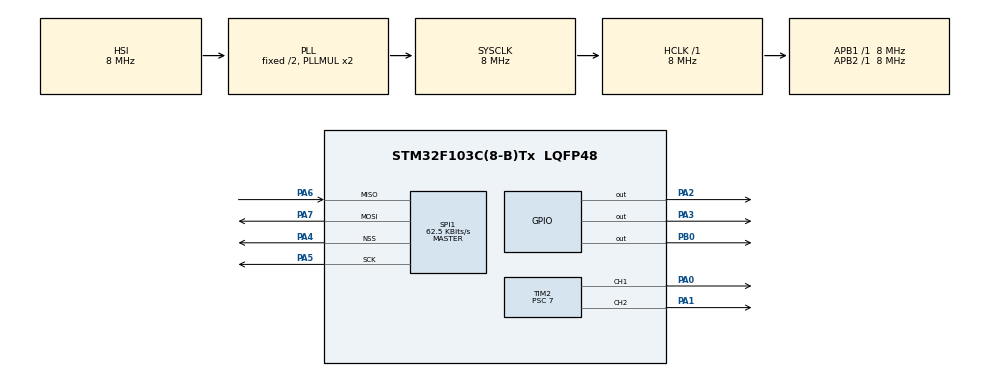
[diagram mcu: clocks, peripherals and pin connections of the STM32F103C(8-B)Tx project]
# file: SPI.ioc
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Mcu.Family=STM32F1
Mcu.Name=STM32F103C(8-B)Tx
Mcu.Package=LQFP48
NVIC.PriorityGroup=NVIC_PRIORITYGROUP_4
PA0-WKUP.Signal=S_TIM2_CH1_ETR
PA1.Signal=S_TIM2_CH2
PA13.Mode=Serial_Wire
PA13.Signal=SYS_JTMS-SWDIO
PA14.Mode=Serial_Wire
PA14.Signal=SYS_JTCK-SWCLK
PA2.Signal=GPIO_Output
PA3.Signal=GPIO_Output
PA4.Mode=NSS_Signal_Hard_Output
PA4.Signal=SPI1_NSS
PA5.Mode=Full_Duplex_Master
PA5.Signal=SPI1_SCK
PA6.Mode=Full_Duplex_Master
PA6.Signal=SPI1_MISO
PA7.Mode=Full_Duplex_Master
PA7.Signal=SPI1_MOSI
PB0.Signal=GPIO_Output
PD0-OSC_IN.Mode=HSE-External-Oscillator
PD0-OSC_IN.Signal=RCC_OSC_IN
PD1-OSC_OUT.Mode=HSE-External-Oscillator
PD1-OSC_OUT.Signal=RCC_OSC_OUT
ProjectManager.HeapSize=0x200
ProjectManager.StackSize=0x400
ProjectManager.TargetToolchain=STM32CubeIDE
RCC.AHBFreq_Value=8000000
RCC.APB1Freq_Value=8000000
RCC.APB1TimFreq_Value=8000000
RCC.APB2Freq_Value=8000000
RCC.APB2TimFreq_Value=8000000
RCC.HCLKFreq_Value=8000000
RCC.SYSCLKFreq_VALUE=8000000
RCC.SYSCLKSource=RCC_SYSCLKSOURCE_PLLCLK
RCC.USBFreq_Value=8000000
SH.S_TIM2_CH1_ETR.0=TIM2_CH1,PWM Generation1 CH1
SH.S_TIM2_CH2.0=TIM2_CH2,PWM Generation2 CH2
SPI1.BaudRatePrescaler=SPI_BAUDRATEPRESCALER_128
SPI1.CLKPhase=SPI_PHASE_2EDGE
SPI1.CLKPolarity=SPI_POLARITY_HIGH
SPI1.CalculateBaudRate=62.5 KBits/s
SPI1.Direction=SPI_DIRECTION_2LINES
SPI1.FirstBit=SPI_FIRSTBIT_LSB
SPI1.Mode=SPI_MODE_MASTER
SPI1.VirtualNSS=VM_NSSHARD
SPI1.VirtualType=VM_MASTER
TIM2.Channel-PWM\ Generation1\ CH1=TIM_CHANNEL_1
TIM2.Channel-PWM\ Generation2\ CH2=TIM_CHANNEL_2
TIM2.Period=99
TIM2.Prescaler=7
VP_TIM2_VS_ClockSourceINT.Mode=Internal
board=custom

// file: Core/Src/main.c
/* USER CODE BEGIN Header */
/**
  ******************************************************************************
  * @file           : main.c
  * @brief          : Main program body
  ******************************************************************************
  * @attention
  *
  * Copyright (c) 2024 STMicroelectronics.
  * All rights reserved.
  *
  * This software is licensed under terms that can be found in the LICENSE file
  * in the root directory of this software component.
  * If no LICENSE file comes with this software, it is provided AS-IS.
  *
  ******************************************************************************
  */
/* USER CODE END Header */
#include "main.h"

/* USER CODE BEGIN PD */
#define TURN 30
/* USER CODE END PD */

SPI_HandleTypeDef hspi1;

TIM_HandleTypeDef htim2;

/* USER CODE BEGIN PV */
uint8_t PSX_RX[8];
uint8_t PSX_TX[2] = {
		0x01, 0x42
};
enum state
{
	FORWARD,
	FOR_LEFT,
	FOR_RIGHT,
	BACKWARD,
	BAC_LEFT,
	BAC_RIGHT,
	LEFT_ROUND,
	RIGHT_ROUND,
	ZERO
};
enum state state_check(uint8_t arr[8]);
/* USER CODE END PV */

void SystemClock_Config(void);
static void MX_GPIO_Init(void);
static void MX_SPI1_Init(void);
static void MX_TIM2_Init(void);

/* USER CODE BEGIN 0 */
void forward();
void left();
void right();
void backward();
void forward_left();
void forward_right();
void backward_left();
void backward_right();
void stop_case();
/* USER CODE END 0 */

int main(void)
{

  /* MCU Configuration--------------------------------------------------------*/

  /* Reset of all peripherals, Initializes the Flash interface and the Systick. */
  HAL_Init();

  /* Configure the system clock */
  SystemClock_Config();

  /* Initialize all configured peripherals */
  MX_GPIO_Init();
  MX_SPI1_Init();
  MX_TIM2_Init();
  /* USER CODE BEGIN 2 */
  HAL_TIM_PWM_Start(&htim2,TIM_CHANNEL_1);
  HAL_TIM_PWM_Start(&htim2,TIM_CHANNEL_2);
  HAL_GPIO_WritePin(GPIOB, GPIO_PIN_0, 1);

  /* USER CODE END 2 */

  /* Infinite loop */
  while (1)
  {

    /* USER CODE BEGIN 3 */
	 HAL_Delay(5);
	 HAL_GPIO_TogglePin(GPIOB, GPIO_PIN_0);
	 HAL_SPI_TransmitReceive(&hspi1, PSX_TX, PSX_RX, 8, 10);
	 HAL_GPIO_TogglePin(GPIOB, GPIO_PIN_0);
	 switch (state_check(PSX_RX))
	 {
		 case FORWARD :
			 forward();
			 break;

		 case FOR_LEFT :
			forward_left();
			break;

		 case FOR_RIGHT :
			forward_right();
			break;

		 case BACKWARD :
			backward();
			break;

		 case BAC_LEFT :
			backward_left();
			break;

		 case BAC_RIGHT :
			backward_right();
			break;

		 case RIGHT_ROUND :
		 			right();
		 			break;

		 case LEFT_ROUND :
		 			left();
		 			break;

		 case ZERO:
			stop_case();
			break;

		 default:
			 break;
	 }

  }
  /* USER CODE END 3 */
}

void SystemClock_Config(void)
{
  RCC_OscInitTypeDef RCC_OscInitStruct = {0};
  RCC_ClkInitTypeDef RCC_ClkInitStruct = {0};

  /** Initializes the RCC Oscillators according to the specified parameters
  * in the RCC_OscInitTypeDef structure.
  */
  RCC_OscInitStruct.OscillatorType = RCC_OSCILLATORTYPE_HSI;
  RCC_OscInitStruct.HSIState = RCC_HSI_ON;
  RCC_OscInitStruct.HSICalibrationValue = RCC_HSICALIBRATION_DEFAULT;
  RCC_OscInitStruct.PLL.PLLState = RCC_PLL_ON;
  RCC_OscInitStruct.PLL.PLLSource = RCC_PLLSOURCE_HSI_DIV2;
  RCC_OscInitStruct.PLL.PLLMUL = RCC_PLL_MUL2;
  if (HAL_RCC_OscConfig(&RCC_OscInitStruct) != HAL_OK)
  {
    Error_Handler();
  }

  /** Initializes the CPU, AHB and APB buses clocks
  */
  RCC_ClkInitStruct.ClockType = RCC_CLOCKTYPE_HCLK|RCC_CLOCKTYPE_SYSCLK
                              |RCC_CLOCKTYPE_PCLK1|RCC_CLOCKTYPE_PCLK2;
  RCC_ClkInitStruct.SYSCLKSource = RCC_SYSCLKSOURCE_PLLCLK;
  RCC_ClkInitStruct.AHBCLKDivider = RCC_SYSCLK_DIV1;
  RCC_ClkInitStruct.APB1CLKDivider = RCC_HCLK_DIV1;
  RCC_ClkInitStruct.APB2CLKDivider = RCC_HCLK_DIV1;

  if (HAL_RCC_ClockConfig(&RCC_ClkInitStruct, FLASH_LATENCY_0) != HAL_OK)
  {
    Error_Handler();
  }
}

static void MX_SPI1_Init(void)
{

  /* SPI1 parameter configuration*/
  hspi1.Instance = SPI1;
  hspi1.Init.Mode = SPI_MODE_MASTER;
  hspi1.Init.Direction = SPI_DIRECTION_2LINES;
  hspi1.Init.DataSize = SPI_DATASIZE_8BIT;
  hspi1.Init.CLKPolarity = SPI_POLARITY_HIGH;
  hspi1.Init.CLKPhase = SPI_PHASE_2EDGE;
  hspi1.Init.NSS = SPI_NSS_HARD_OUTPUT;
  hspi1.Init.BaudRatePrescaler = SPI_BAUDRATEPRESCALER_128;
  hspi1.Init.FirstBit = SPI_FIRSTBIT_LSB;
  hspi1.Init.TIMode = SPI_TIMODE_DISABLE;
  hspi1.Init.CRCCalculation = SPI_CRCCALCULATION_DISABLE;
  hspi1.Init.CRCPolynomial = 10;
  if (HAL_SPI_Init(&hspi1) != HAL_OK)
  {
    Error_Handler();
  }

}

static void MX_TIM2_Init(void)
{

  TIM_ClockConfigTypeDef sClockSourceConfig = {0};
  TIM_MasterConfigTypeDef sMasterConfig = {0};
  TIM_OC_InitTypeDef sConfigOC = {0};

  htim2.Instance = TIM2;
  htim2.Init.Prescaler = 7;
  htim2.Init.CounterMode = TIM_COUNTERMODE_UP;
  htim2.Init.Period = 99;
  htim2.Init.ClockDivision = TIM_CLOCKDIVISION_DIV1;
  htim2.Init.AutoReloadPreload = TIM_AUTORELOAD_PRELOAD_DISABLE;
  if (HAL_TIM_Base_Init(&htim2) != HAL_OK)
  {
    Error_Handler();
  }
  sClockSourceConfig.ClockSource = TIM_CLOCKSOURCE_INTERNAL;
  if (HAL_TIM_ConfigClockSource(&htim2, &sClockSourceConfig) != HAL_OK)
  {
    Error_Handler();
  }
  if (HAL_TIM_PWM_Init(&htim2) != HAL_OK)
  {
    Error_Handler();
  }
  sMasterConfig.MasterOutputTrigger = TIM_TRGO_RESET;
  sMasterConfig.MasterSlaveMode = TIM_MASTERSLAVEMODE_DISABLE;
  if (HAL_TIMEx_MasterConfigSynchronization(&htim2, &sMasterConfig) != HAL_OK)
  {
    Error_Handler();
  }
  sConfigOC.OCMode = TIM_OCMODE_PWM1;
  sConfigOC.Pulse = 0;
  sConfigOC.OCPolarity = TIM_OCPOLARITY_HIGH;
  sConfigOC.OCFastMode = TIM_OCFAST_DISABLE;
  if (HAL_TIM_PWM_ConfigChannel(&htim2, &sConfigOC, TIM_CHANNEL_1) != HAL_OK)
  {
    Error_Handler();
  }
  if (HAL_TIM_PWM_ConfigChannel(&htim2, &sConfigOC, TIM_CHANNEL_2) != HAL_OK)
  {
    Error_Handler();
  }
  HAL_TIM_MspPostInit(&htim2);

}

static void MX_GPIO_Init(void)
{
  GPIO_InitTypeDef GPIO_InitStruct = {0};

  /* GPIO Ports Clock Enable */
  __HAL_RCC_GPIOD_CLK_ENABLE();
  __HAL_RCC_GPIOA_CLK_ENABLE();
  __HAL_RCC_GPIOB_CLK_ENABLE();

  /*Configure GPIO pin Output Level */
  HAL_GPIO_WritePin(GPIOA, GPIO_PIN_2|GPIO_PIN_3, GPIO_PIN_RESET);

  /*Configure GPIO pin Output Level */
  HAL_GPIO_WritePin(GPIOB, GPIO_PIN_0, GPIO_PIN_RESET);

  /*Configure GPIO pins : PA2 PA3 */
  GPIO_InitStruct.Pin = GPIO_PIN_2|GPIO_PIN_3;
  GPIO_InitStruct.Mode = GPIO_MODE_OUTPUT_PP;
  GPIO_InitStruct.Pull = GPIO_NOPULL;
  GPIO_InitStruct.Speed = GPIO_SPEED_FREQ_LOW;
  HAL_GPIO_Init(GPIOA, &GPIO_InitStruct);

  /*Configure GPIO pin : PB0 */
  GPIO_InitStruct.Pin = GPIO_PIN_0;
  GPIO_InitStruct.Mode = GPIO_MODE_OUTPUT_PP;
  GPIO_InitStruct.Pull = GPIO_NOPULL;
  GPIO_InitStruct.Speed = GPIO_SPEED_FREQ_LOW;
  HAL_GPIO_Init(GPIOB, &GPIO_InitStruct);

}

/* USER CODE BEGIN 4 */
enum state state_check(uint8_t arr[8])
{
	uint8_t forward_flag = 0;
	uint8_t backward_flag = 0;
	uint8_t left_flag = 0;
	uint8_t right_flag = 0;
	if (arr[3] == 127 || arr[3] == 111 || arr[3] == 63) left_flag = 1;
	if (arr[3] == 223 || arr[3] == 207 || arr[3] == 159) right_flag = 1;
	if (arr[4] == 239 || arr[4] == 111 || arr[4] == 207) forward_flag = 1;
	if (arr[4] == 159 || arr[4] == 191 || arr[4] == 63) backward_flag = 1;
	if (forward_flag && left_flag) return FOR_LEFT;
	else
		if (forward_flag && right_flag) return FOR_RIGHT;
		else if (forward_flag) return FORWARD;
		else if (backward_flag && left_flag) return BAC_LEFT;
		else if (backward_flag && right_flag) return BAC_RIGHT;
		else if (backward_flag) return BACKWARD;
		else if (left_flag) return LEFT_ROUND;
		else if (right_flag) return RIGHT_ROUND;
		else return ZERO;
}
void forward()
{
	HAL_GPIO_WritePin(GPIOA, GPIO_PIN_2, 1);
	__HAL_TIM_SetCompare(&htim2, TIM_CHANNEL_1, 0);
	HAL_GPIO_WritePin(GPIOA, GPIO_PIN_3, 0);
	__HAL_TIM_SetCompare(&htim2, TIM_CHANNEL_2, 100);
}
void left()
{
	HAL_GPIO_WritePin(GPIOA, GPIO_PIN_2, 0);
	__HAL_TIM_SetCompare(&htim2, TIM_CHANNEL_1, 100);
	HAL_GPIO_WritePin(GPIOA, GPIO_PIN_3, 0);
	__HAL_TIM_SetCompare(&htim2, TIM_CHANNEL_2, 100);
}
void right()
{
	HAL_GPIO_WritePin(GPIOA, GPIO_PIN_2, 1);
	__HAL_TIM_SetCompare(&htim2, TIM_CHANNEL_1, 0);
	HAL_GPIO_WritePin(GPIOA, GPIO_PIN_3, 1);
	__HAL_TIM_SetCompare(&htim2, TIM_CHANNEL_2, 0);
}
void backward()
{
	HAL_GPIO_WritePin(GPIOA, GPIO_PIN_2, 0);
	__HAL_TIM_SetCompare(&htim2, TIM_CHANNEL_1, 100);
	HAL_GPIO_WritePin(GPIOA, GPIO_PIN_3, 1);
	__HAL_TIM_SetCompare(&htim2, TIM_CHANNEL_2, 0);
}
void forward_left()
{
	HAL_GPIO_WritePin(GPIOA, GPIO_PIN_2, 1);
	__HAL_TIM_SetCompare(&htim2, TIM_CHANNEL_1, 100 - TURN);
	HAL_GPIO_WritePin(GPIOA, GPIO_PIN_3, 0);
	__HAL_TIM_SetCompare(&htim2, TIM_CHANNEL_2, 100);
}
void forward_right()
{
	HAL_GPIO_WritePin(GPIOA, GPIO_PIN_2, 1);
	__HAL_TIM_SetCompare(&htim2, TIM_CHANNEL_1, 0);
	HAL_GPIO_WritePin(GPIOA, GPIO_PIN_3, 0);
	__HAL_TIM_SetCompare(&htim2, TIM_CHANNEL_2, TURN);
}
void backward_left()
{
	HAL_GPIO_WritePin(GPIOA, GPIO_PIN_2, 0);
	__HAL_TIM_SetCompare(&htim2, TIM_CHANNEL_1, TURN);
	HAL_GPIO_WritePin(GPIOA, GPIO_PIN_3, 1);
	__HAL_TIM_SetCompare(&htim2, TIM_CHANNEL_2, 0);
}
void backward_right()
{
	HAL_GPIO_WritePin(GPIOA, GPIO_PIN_2, 0);
	__HAL_TIM_SetCompare(&htim2, TIM_CHANNEL_1, 100);
	HAL_GPIO_WritePin(GPIOA, GPIO_PIN_3, 1);
	__HAL_TIM_SetCompare(&htim2, TIM_CHANNEL_2, 100 - TURN);
}
void stop_case()
{
	HAL_GPIO_WritePin(GPIOA, GPIO_PIN_2, 0);
	__HAL_TIM_SetCompare(&htim2, TIM_CHANNEL_1, 0);
	HAL_GPIO_WritePin(GPIOA, GPIO_PIN_3, 0);
	__HAL_TIM_SetCompare(&htim2, TIM_CHANNEL_2, 0);
}
/* USER CODE END 4 */

void Error_Handler(void)
{
  __disable_irq();
  while (1)
  {
  }
}
